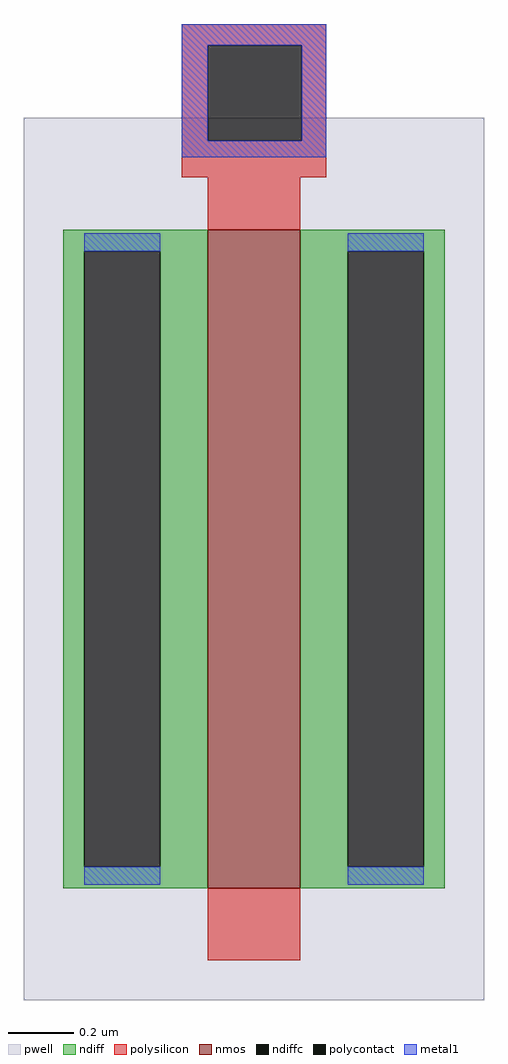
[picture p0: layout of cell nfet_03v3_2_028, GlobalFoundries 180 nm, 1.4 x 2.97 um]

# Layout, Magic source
magic
tech gf180mcuD
magscale 1 10
<< polysilicon >>
rect 96 580 184 593
rect 96 522 112 580
rect 169 522 184 580
rect 96 500 184 522
<< polycontact >>
rect 112 522 169 580
<< metal1 >>
rect 96 580 184 593
rect 96 522 112 580
rect 169 522 184 580
rect 96 512 184 522
use nfet_03v3_NCUC85  nfet_03v3_NCUC85_0
transform 1 0 140 0 1 268
box -140 -268 140 268
<< end >>

# cell nfet_03v3_NCUC85: kit device nfet_03v3, w 2 l 0.280 m 1 nf 1 diffcov 100 polycov 100 guard 0 glc 0 grc 0 gtc 0 gbc 0 tbcov 100 rlcov 100 topc 0 botc 0 poverlap 0 doverlap 1 lmin 0.28 wmin 0.22 class mosfet full_metal 0 compatible {nfet_03v3 nfet_06v0 nfet_06v0_nvt}
